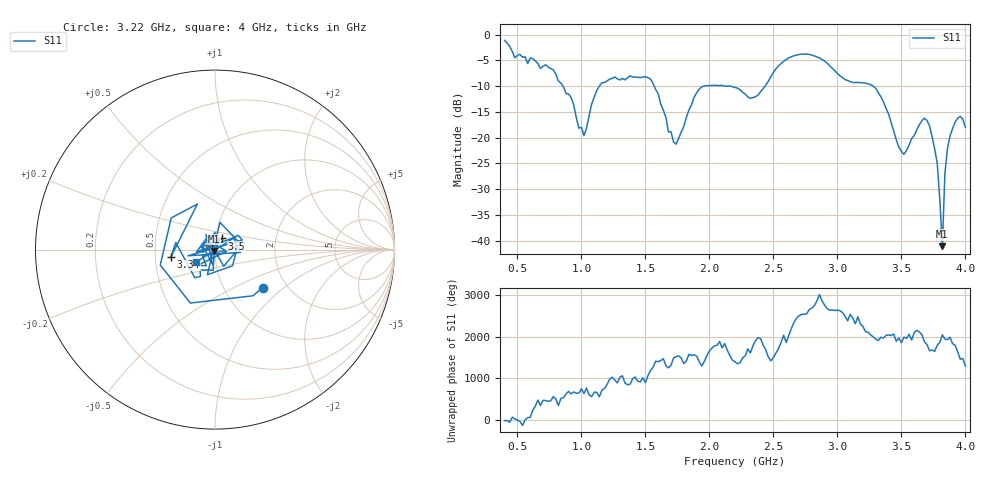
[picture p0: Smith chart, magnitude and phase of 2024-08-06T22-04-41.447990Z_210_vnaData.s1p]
!Created with skrf (http://scikit-rf.org).
# Hz S RI R 50.0
!freq ReS11 ImS11
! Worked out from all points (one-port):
!   181 points, 400 MHz to 4 GHz, reference 50 ohm
!   lowest |S11| = -41.1 dB at 3.82 GHz (marker M1), VSWR 1.02, Z = 49.6 - j0.794 ohm
!   |S11| at or under -10 dB: 856.7 MHz to 1.14 GHz (283.2 MHz wide, 28.4 % of centre); 1.569 GHz to 1.957 GHz (388 MHz wide, 22 % of centre); 3.281 GHz to end of sweep (the widest 3 of 4)
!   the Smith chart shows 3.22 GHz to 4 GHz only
!   S11 on the Smith chart (normalised r, x): 3.22 GHz: 1.51, -0.72; 3.34 GHz: 0.60, -0.05; 3.5 GHz: 1.07, +0.13; 4 GHz: 0.80, -0.11
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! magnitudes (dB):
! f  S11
! 400 MHz  -1.1
! 480 MHz  -4.5
! 720 MHz  -5.8
! 860 MHz  -10.1
! 1.02 GHz  -19.6
! 1.14 GHz  -10.0
! 1.3 GHz  -8.8
! 1.54 GHz  -8.6
! 1.68 GHz  -18.9
! 1.76 GHz  -20.1
! 1.92 GHz  -10.6
! 2.2 GHz  -10.2
! 2.36 GHz  -12.1
! 2.66 GHz  -4.1
! 2.86 GHz  -4.5
! 3.1 GHz  -9.1
! 3.22 GHz  -9.4
! 3.34 GHz  -12.1
! 3.5 GHz  -22.7
! 3.56 GHz  -21.4
! 3.68 GHz  -16.2
! 3.72 GHz  -17.7
! 3.78 GHz  -25.0
! 3.82 GHz  -41.1
! 3.84 GHz  -26.9
! 3.86 GHz  -22.1
! 3.94 GHz  -16.2
! 4 GHz  -18.0
